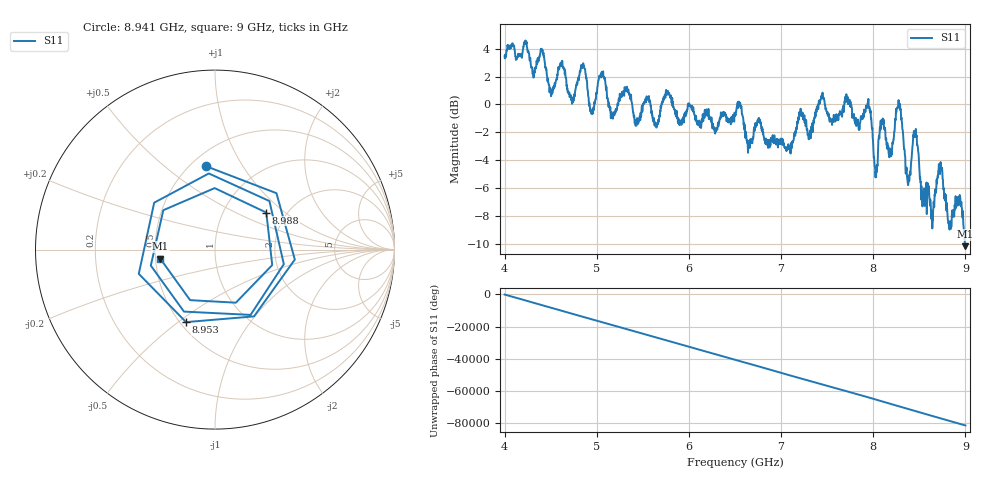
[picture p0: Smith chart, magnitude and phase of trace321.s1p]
! Created with skrf 1.8.0 (http://scikit-rf.org).
# Hz S RI R 50.0
!freq ReS11 ImS11
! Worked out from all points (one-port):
!   1601 points, 4 GHz to 9 GHz, reference 50 ohm
!   lowest |S11| = -10.2 dB at 9 GHz (marker M1), VSWR 1.90, Z = 26.5 - j2.92 ohm
!   |S11| at or under -10 dB: 8.995195 GHz to end of sweep
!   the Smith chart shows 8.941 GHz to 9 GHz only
!   S11 on the Smith chart (normalised r, x): 8.941 GHz: 0.59, +0.71; 8.953 GHz: 0.54, -0.53; 8.988 GHz: 1.58, +0.75; 9 GHz: 0.53, -0.06
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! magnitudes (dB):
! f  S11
! 4 GHz  3.5
! 4.406 GHz  3.9
! 4.509 GHz  0.9
! 4.625 GHz  3.1
! 4.731 GHz  0.0
! 4.853 GHz  3.0
! 4.947 GHz  -0.5
! 5.05 GHz  2.2
! 5.166 GHz  -0.9
! 5.25 GHz  0.8
! 5.875 GHz  -1.0
! 6.5 GHz  -0.8
! 7.125 GHz  -2.6
! 7.75 GHz  -0.1
! 7.947 GHz  0.4
! 8.028 GHz  -4.8
! 8.088 GHz  -1.3
! 8.275 GHz  0.3
! 8.375 GHz  -5.6
! 8.456 GHz  -2.1
! 8.534 GHz  -7.3
! 8.634 GHz  -8.0
! 8.725 GHz  -5.0
! 8.825 GHz  -8.9
! 8.941 GHz  -6.6
! 8.953 GHz  -7.2
! 8.988 GHz  -9.1
! 9 GHz  -10.2
